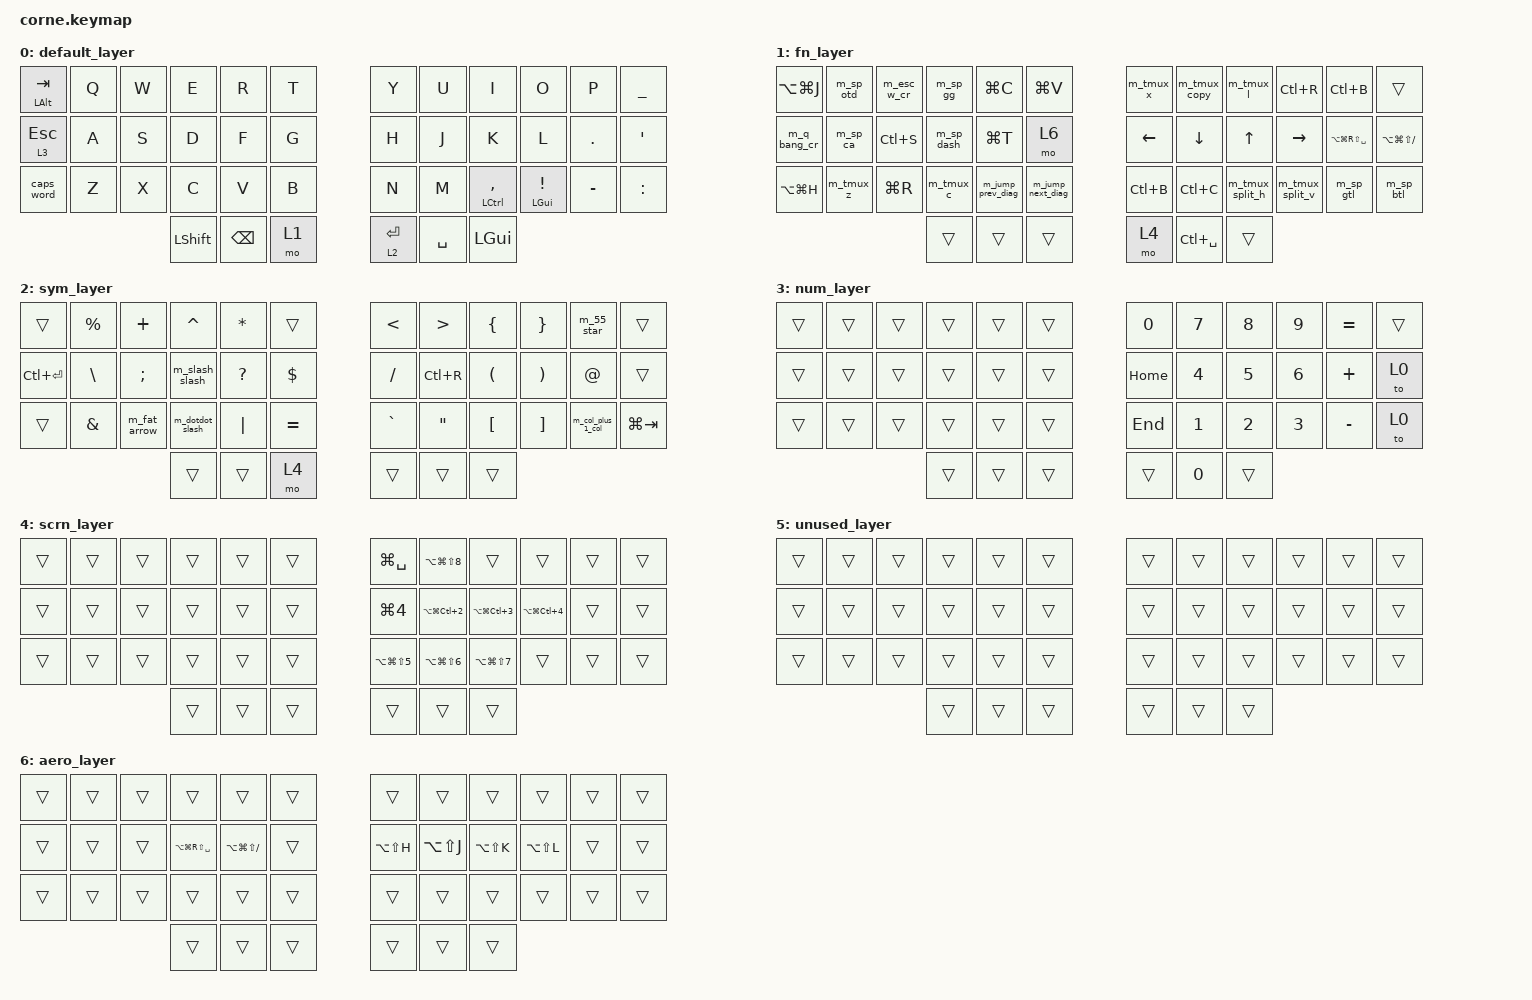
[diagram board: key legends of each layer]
#include <behaviors.dtsi>
#include <dt-bindings/zmk/keys.h>
#include <dt-bindings/zmk/bt.h>

/ {
    behaviors {
        lt_enter: lt_enter {
            compatible = "zmk,behavior-hold-tap";
            #binding-cells = <2>;
            tapping-term-ms = <200>;
            flavor = "hold-preferred";
            bindings = <&mo>, <&kp>;
        };
    };

    combos {
        compatible = "zmk,combos";

        combo_boot_left {
            timeout-ms = <50>;
            key-positions = <0 5>;
            bindings = <&bootloader>;
            layers = <0>;
        };

        combo_boot_right {
            timeout-ms = <50>;
            key-positions = <6 11>;
            bindings = <&bootloader>;
            layers = <0>;
        };
    };

    macros {
        m_sp_otd: m_sp_otd {
            compatible = "zmk,behavior-macro";
            #binding-cells = <0>;
            wait-ms = <30>;
            tap-ms = <30>;
            bindings = <&kp SPACE>, <&kp MINUS>, <&kp O>, <&kp T>, <&kp D>;
        };

        m_esc_w_cr: m_esc_w_cr {
            compatible = "zmk,behavior-macro";
            #binding-cells = <0>;
            wait-ms = <30>;
            tap-ms = <30>;
            bindings = <&kp ESC>, <&kp COLON>, <&kp W>, <&kp ENTER>;
        };

        m_sp_gg: m_sp_gg {
            compatible = "zmk,behavior-macro";
            #binding-cells = <0>;
            wait-ms = <30>;
            tap-ms = <30>;
            bindings = <&kp SPACE>, <&kp G>, <&kp G>;
        };

        m_q_bang_cr: m_q_bang_cr {
            compatible = "zmk,behavior-macro";
            #binding-cells = <0>;
            wait-ms = <30>;
            tap-ms = <30>;
            bindings = <&kp COLON>, <&kp Q>, <&kp EXCL>, <&kp ENTER>;
        };

        m_sp_ca: m_sp_ca {
            compatible = "zmk,behavior-macro";
            #binding-cells = <0>;
            wait-ms = <30>;
            tap-ms = <30>;
            bindings = <&kp SPACE>, <&kp C>, <&kp A>;
        };

        m_sp_dash: m_sp_dash {
            compatible = "zmk,behavior-macro";
            #binding-cells = <0>;
            wait-ms = <30>;
            tap-ms = <30>;
            bindings = <&kp SPACE>, <&kp MINUS>;
        };

        m_tmux_z: m_tmux_z {
            compatible = "zmk,behavior-macro";
            #binding-cells = <0>;
            wait-ms = <30>;
            tap-ms = <30>;
            bindings = <&kp LC(B)>, <&kp Z>;
        };

        m_tmux_c: m_tmux_c {
            compatible = "zmk,behavior-macro";
            #binding-cells = <0>;
            wait-ms = <30>;
            tap-ms = <30>;
            bindings = <&kp LC(B)>, <&kp C>;
        };

        m_jump_prev_diag: m_jump_prev_diag {
            compatible = "zmk,behavior-macro";
            #binding-cells = <0>;
            wait-ms = <30>;
            tap-ms = <30>;
            bindings = <&kp LBKT>, <&kp G>;
        };

        m_jump_next_diag: m_jump_next_diag {
            compatible = "zmk,behavior-macro";
            #binding-cells = <0>;
            wait-ms = <30>;
            tap-ms = <30>;
            bindings = <&kp RBKT>, <&kp G>;
        };

        m_tick_A: m_tick_A {
            compatible = "zmk,behavior-macro";
            #binding-cells = <0>;
            wait-ms = <30>;
            tap-ms = <30>;
            bindings = <&kp GRAVE>, <&kp LS(A)>;
        };

        m_tick_B: m_tick_B {
            compatible = "zmk,behavior-macro";
            #binding-cells = <0>;
            wait-ms = <30>;
            tap-ms = <30>;
            bindings = <&kp GRAVE>, <&kp LS(B)>;
        };

        m_tick_C: m_tick_C {
            compatible = "zmk,behavior-macro";
            #binding-cells = <0>;
            wait-ms = <30>;
            tap-ms = <30>;
            bindings = <&kp GRAVE>, <&kp LS(C)>;
        };

        m_tmux_x: m_tmux_x {
            compatible = "zmk,behavior-macro";
            #binding-cells = <0>;
            wait-ms = <30>;
            tap-ms = <30>;
            bindings = <&kp LC(B)>, <&kp X>;
        };

        m_tmux_copy: m_tmux_copy {
            compatible = "zmk,behavior-macro";
            #binding-cells = <0>;
            wait-ms = <30>;
            tap-ms = <30>;
            bindings = <&kp LC(B)>, <&kp LBKT>;
        };

        m_tmux_l: m_tmux_l {
            compatible = "zmk,behavior-macro";
            #binding-cells = <0>;
            wait-ms = <30>;
            tap-ms = <30>;
            bindings = <&kp LC(B)>, <&kp L>;
        };

        m_tmux_split_h: m_tmux_split_h {
            compatible = "zmk,behavior-macro";
            #binding-cells = <0>;
            wait-ms = <30>;
            tap-ms = <30>;
            bindings = <&kp LC(B)>, <&kp DQT>;
        };

        m_tmux_split_v: m_tmux_split_v {
            compatible = "zmk,behavior-macro";
            #binding-cells = <0>;
            wait-ms = <30>;
            tap-ms = <30>;
            bindings = <&kp LC(B)>, <&kp PRCNT>;
        };

        m_sp_gtl: m_sp_gtl {
            compatible = "zmk,behavior-macro";
            #binding-cells = <0>;
            wait-ms = <30>;
            tap-ms = <30>;
            bindings = <&kp SPACE>, <&kp MINUS>, <&kp G>, <&kp T>, <&kp L>;
        };

        m_sp_btl: m_sp_btl {
            compatible = "zmk,behavior-macro";
            #binding-cells = <0>;
            wait-ms = <30>;
            tap-ms = <30>;
            bindings = <&kp SPACE>, <&kp MINUS>, <&kp B>, <&kp T>, <&kp L>;
        };

        m_slash_slash: m_slash_slash {
            compatible = "zmk,behavior-macro";
            #binding-cells = <0>;
            wait-ms = <30>;
            tap-ms = <30>;
            bindings = <&kp FSLH>, <&kp FSLH>;
        };

        m_fat_arrow: m_fat_arrow {
            compatible = "zmk,behavior-macro";
            #binding-cells = <0>;
            wait-ms = <30>;
            tap-ms = <30>;
            bindings = <&kp EQUAL>, <&kp GT>;
        };

        m_dotdot_slash: m_dotdot_slash {
            compatible = "zmk,behavior-macro";
            #binding-cells = <0>;
            wait-ms = <30>;
            tap-ms = <30>;
            bindings = <&kp DOT>, <&kp DOT>, <&kp FSLH>;
        };

        m_55_star: m_55_star {
            compatible = "zmk,behavior-macro";
            #binding-cells = <0>;
            wait-ms = <30>;
            tap-ms = <30>;
            bindings = <&kp N5>, <&kp N5>, <&kp KP_MULTIPLY>;
        };

        m_col_plus_1_col: m_col_plus_1_col {
            compatible = "zmk,behavior-macro";
            #binding-cells = <0>;
            wait-ms = <30>;
            tap-ms = <30>;
            bindings = <&kp COLON>, <&kp KP_PLUS>, <&kp N1>, <&kp COLON>;
        };
    };

    keymap {
        compatible = "zmk,keymap";

        default_layer {
            bindings = <
&mt LALT TAB  &kp Q  &kp W  &kp E  &kp R  &kp T           &kp Y  &kp U  &kp I            &kp O           &kp P      &kp UNDER
&lt 3 ESC     &kp A  &kp S  &kp D  &kp F  &kp G           &kp H  &kp J  &kp K            &kp L           &kp DOT    &kp SQT
&caps_word    &kp Z  &kp X  &kp C  &kp V  &kp B           &kp N  &kp M  &mt LCTRL COMMA  &mt LGUI EXCL   &kp MINUS  &kp COLON
                        &kp LSHFT  &kp BSPC  &mo 1         &lt_enter 2 RET  &kp SPACE  &kp LGUI
            >;
        };

        fn_layer {
            bindings = <
&kp LA(LG(J))  &m_sp_otd   &m_esc_w_cr  &m_sp_gg    &kp LG(C)          &kp LG(V)           &m_tmux_x  &m_tmux_copy  &m_tmux_l        &kp LC(R)        &kp LC(B)              &trans
&m_q_bang_cr   &m_sp_ca    &kp LC(S)    &m_sp_dash  &kp LG(T)          &mo 6               &kp LEFT   &kp DOWN      &kp UP           &kp RIGHT        &kp LA(LG(RS(SPACE)))  &kp LA(LG(LS(FSLH)))
&kp LA(LG(H))  &m_tmux_z   &kp LG(R)    &m_tmux_c   &m_jump_prev_diag  &m_jump_next_diag   &kp LC(B)  &kp LC(C)     &m_tmux_split_h  &m_tmux_split_v  &m_sp_gtl              &m_sp_btl
                        &trans  &trans  &trans                                             &mo 4  &kp LC(SPACE)  &trans
            >;
        };

        sym_layer {
            bindings = <
&trans       &kp PRCNT  &kp PLUS      &kp CARET        &kp STAR    &trans        &kp LT     &kp GT     &kp LBRC  &kp RBRC  &m_55_star         &trans
&kp LC(RET)  &kp BSLH   &kp SEMI      &m_slash_slash   &kp QMARK   &kp DLLR      &kp FSLH   &kp LC(R)  &kp LPAR  &kp RPAR  &kp AT             &trans
&trans       &kp AMPS   &m_fat_arrow  &m_dotdot_slash  &kp PIPE    &kp EQUAL     &kp GRAVE  &kp DQT    &kp LBKT  &kp RBKT  &m_col_plus_1_col  &kp LG(TAB)
                        &trans  &trans  &mo 4                                    &trans  &trans  &trans
            >;
        };

        num_layer {
            bindings = <
&trans  &trans  &trans  &trans  &trans  &trans          &kp N0    &kp N7  &kp N8  &kp N9  &kp EQUAL  &trans
&trans  &trans  &trans  &trans  &trans  &trans          &kp HOME  &kp N4  &kp N5  &kp N6  &kp PLUS   &to 0
&trans  &trans  &trans  &trans  &trans  &trans          &kp END   &kp N1  &kp N2  &kp N3  &kp MINUS  &to 0
                        &trans  &trans  &trans          &trans  &kp N0  &trans
            >;
        };

        scrn_layer {
            bindings = <
&trans  &trans  &trans  &trans  &trans  &trans          &kp LG(SPACE)       &kp LA(LG(LS(N8)))  &trans              &trans              &trans  &trans
&trans  &trans  &trans  &trans  &trans  &trans          &kp LG(N4)          &kp LA(LG(LC(N2)))  &kp LA(LG(LC(N3)))  &kp LA(LG(LC(N4)))  &trans  &trans
&trans  &trans  &trans  &trans  &trans  &trans          &kp LA(LG(LS(N5)))  &kp LA(LG(LS(N6)))  &kp LA(LG(LS(N7)))  &trans              &trans  &trans
                        &trans  &trans  &trans          &trans  &trans  &trans
            >;
        };

        unused_layer {
            bindings = <
&trans  &trans  &trans  &trans  &trans  &trans          &trans  &trans  &trans  &trans  &trans  &trans
&trans  &trans  &trans  &trans  &trans  &trans          &trans  &trans  &trans  &trans  &trans  &trans
&trans  &trans  &trans  &trans  &trans  &trans          &trans  &trans  &trans  &trans  &trans  &trans
                        &trans  &trans  &trans          &trans  &trans  &trans
            >;
        };

        aero_layer {
            bindings = <
&trans  &trans  &trans  &trans                 &trans                &trans          &trans         &trans         &trans         &trans         &trans  &trans
&trans  &trans  &trans  &kp LA(LG(RS(SPACE)))  &kp LA(LG(LS(FSLH)))  &trans          &kp LA(LS(H))  &kp LA(LS(J))  &kp LA(LS(K))  &kp LA(LS(L))  &trans  &trans
&trans  &trans  &trans  &trans                 &trans                &trans          &trans         &trans         &trans         &trans         &trans  &trans
                        &trans  &trans  &trans                                       &trans  &trans  &trans
            >;
        };
    };
};
